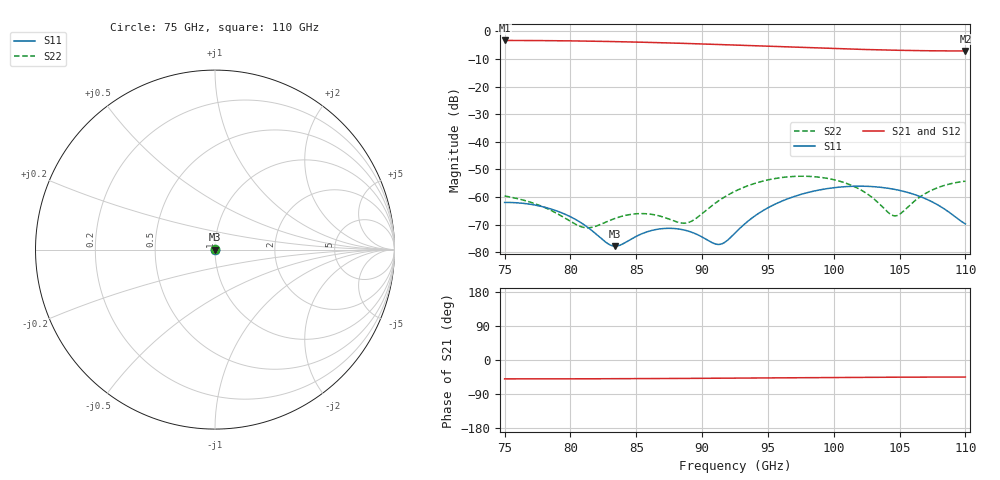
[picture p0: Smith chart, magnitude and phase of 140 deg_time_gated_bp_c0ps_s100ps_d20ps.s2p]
# Hz S RI R 50.000000
! Metas.Vna.Tools, 2.4.7724.19584
! Metas.Vna.Data, 2.4.7724.19560
! Created: UTC 2021.04.29 12:40:11
! FREQ  re:S1,1  im:S1,1  re:S2,1  im:S2,1  re:S1,2  im:S1,2  re:S2,2  im:S2,2
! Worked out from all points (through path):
!   1401 points, 75 GHz to 110 GHz, reference 50 ohm
!   highest |S21| = -3.31 dB at 75 GHz (marker M1); lowest = -7.1 dB at 110 GHz (marker M2)
!   lowest |S11| = -77.8 dB at 83.4 GHz (marker M3), VSWR 1.00, Z = 50 - j0.00882 ohm
!   |S11| at or under -10 dB: start of sweep to end of sweep
!   |S22| runs from -71.2 to -52.5 dB; largest |S21 - S12| = 0.04
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7.5e10  0.000787 0.000103  0.4404 -0.5222  0.4327 -0.5289  0.000876 0.000563
7.815e10  0.000606 -0.000209  0.4379 -0.5181  0.4302 -0.5249  0.000341 0.000526
8.085e10  0.000218 -0.000255  0.4322 -0.5082  0.4242 -0.5153  -0.000126 0.000257
8.1725e10  9.41e-05 -0.000216  0.4296 -0.5039  0.4215 -0.5111  -0.000247 0.000141
8.28e10  -3.56e-05 -0.00014  0.426 -0.4978  0.4177 -0.5053  -0.000359 -5.24e-06
8.34e10  -9.31e-05 -8.82e-05  0.4238 -0.4941  0.4154 -0.5018  -0.000401 -8.39e-05
8.505e10  -0.000184 6.63e-05  0.4171 -0.4828  0.4082 -0.491  -0.000419 -0.000265
8.6675e10  -0.000177 0.000192  0.4096 -0.4702  0.4001 -0.4791  -0.000285 -0.000359
8.83e10  -9.16e-05 0.000244  0.4014 -0.4565  0.391 -0.4663  6.71e-06 -0.000342
8.8975e10  -4.26e-05 0.000236  0.3978 -0.4506  0.387 -0.4608  0.00017 -0.0003
9.1225e10  0.000122 6.36e-05  0.3854 -0.4299  0.3728 -0.4419  0.00084 -3.98e-05
9.175e10  0.000152 -6.84e-06  0.3824 -0.425  0.3693 -0.4375  0.00101 4.07e-05
9.25e10  0.000183 -0.000125  0.378 -0.4179  0.3643 -0.4311  0.00126 0.000162
9.505e10  0.000165 -0.000623  0.3634 -0.3939  0.347 -0.4098  0.00197 0.000561
9.835e10  -0.000122 -0.00125  0.3453 -0.3648  0.3252 -0.3845  0.00219 0.000818
1.001e11  -0.000309 -0.00144  0.3367 -0.351  0.3146 -0.3727  0.00187 0.000787
1.0165e11  -0.000434 -0.0015  0.3299 -0.3402  0.3061 -0.3635  0.00134 0.000686
1.0285e11  -0.000479 -0.00147  0.3253 -0.3328  0.3003 -0.3573  0.000817 0.000587
1.04175e11  -0.000466 -0.00135  0.3209 -0.3258  0.2947 -0.3515  0.000178 0.000482
1.04925e11  -0.000427 -0.00125  0.3187 -0.3224  0.2919 -0.3486  -0.000188 0.000434
1.0715e11  -0.000202 -0.000864  0.314 -0.3149  0.2859 -0.3425  -0.00116 0.000379
1.1e11  0.000189 -0.000264  0.3118 -0.3114  0.283 -0.3396  -0.00185 0.00053
